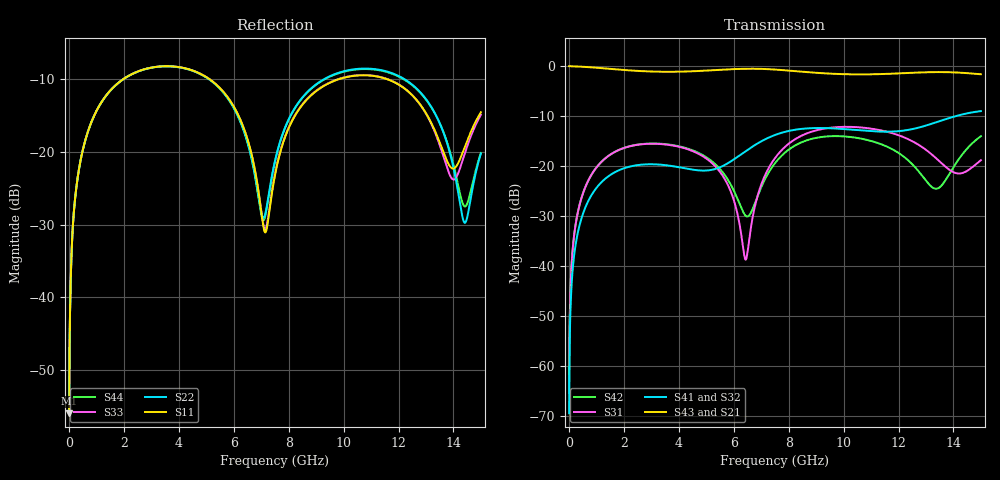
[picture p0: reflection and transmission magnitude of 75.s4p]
! Created with skrf 1.8.0 (http://scikit-rf.org).
# GHz S RI R 50.0
!freq ReS11 ImS11 ReS12 ImS12 ReS13 ImS13
! ReS14 ImS14
! ReS21 ImS21 ReS22 ImS22 ReS23 ImS23
! ReS24 ImS24
! ReS31 ImS31 ReS32 ImS32 ReS33 ImS33
! ReS34 ImS34
! ReS41 ImS41 ReS42 ImS42 ReS43 ImS43
! ReS44 ImS44
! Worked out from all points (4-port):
!   2499 points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, 5 MHz to 15 GHz, reference 50 ohm
!   strongest paths, dB at 5 MHz, 3.476 GHz, 7.19 GHz, 11.1 GHz, 15 GHz:
!     S43: 0.0, -1.1, -0.6, -1.6, -1.6
!     S21: 0.0, -1.1, -0.6, -1.6, -1.6
!     S41: -69.5, -19.8, -14.5, -13.0, -9.0
!     S32: -69.5, -19.8, -14.5, -13.2, -9.0
!     S31: -65.3, -15.7, -21.3, -12.6, -18.8
!     S42: -65.3, -15.6, -22.1, -15.1, -14.0
!   lowest |S11| = -56.0 dB at 5 MHz (marker M1), VSWR 1.00, Z = 50.1 + j0.0957 ohm
!   |S11| at or under -10 dB: start of sweep to 1.969 GHz; 5.126 GHz to 9.814 GHz (4.687 GHz wide, 62.8 % of centre); 11.6 GHz to end of sweep
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0.005  0.00126 0.000954  0.9987 -0.00246  6.37e-05 0.000539  -6.17e-05 -0.000331
       0.9987 -0.00246  0.00126 0.000954  -6.17e-05 -0.000331  6.37e-05 0.000539
       6.37e-05 0.000539  -6.17e-05 -0.000331  0.00126 0.000954  0.9987 -0.00246
       -6.17e-05 -0.000331  6.37e-05 0.000539  0.9987 -0.00246  0.00126 0.000954
0.4126719  0.0236 0.0822  0.9673 -0.2011  0.0119 0.0421  -0.00981 -0.0255
           0.9673 -0.2011  0.0236 0.0822  -0.0098 -0.0255  0.012 0.0421
           0.0119 0.0421  -0.0098 -0.0255  0.0236 0.0822  0.9673 -0.2011
           -0.00981 -0.0255  0.012 0.0421  0.9673 -0.2011  0.0236 0.0822
1.925802  0.2539 0.1815  0.5806 -0.711  0.1305 0.072  -0.0927 -0.0112
          0.5806 -0.711  0.2534 0.1818  -0.0926 -0.0114  0.1318 0.0704
          0.1305 0.072  -0.0926 -0.0114  0.2539 0.1815  0.5806 -0.711
          -0.0927 -0.0112  0.1318 0.0704  0.5806 -0.711  0.2534 0.1818
6.427678  0.0629 -0.1194  -0.8689 -0.3603  0.0116 0.000778  -0.0483 0.1322
          -0.8689 -0.3603  0.0664 -0.1111  -0.0503 0.1314  -0.0281 -0.0152
          0.0116 0.000778  -0.0503 0.1314  0.0635 -0.1187  -0.869 -0.3604
          -0.0483 0.1322  -0.0281 -0.0152  -0.869 -0.3604  0.0656 -0.1109
7.090454  0.0273 -0.0119  -0.9336 -0.0732  0.0301 0.0691  -0.00845 0.182
          -0.9336 -0.0732  0.0351 -0.000507  -0.011 0.1818  -0.025 0.0649
          0.0301 0.0691  -0.011 0.1818  0.0286 -0.0112  -0.9336 -0.0734
          -0.00845 0.182  -0.025 0.0649  -0.9336 -0.0734  0.0339 -0.000265
11.21717  0.3282 -0.0409  0.051 0.8282  0.1653 -0.1625  0.2028 -0.0901
          0.051 0.8282  0.3597 -0.0872  0.202 -0.083  0.1694 -0.0249
          0.1653 -0.1625  0.202 -0.083  0.3283 -0.0486  0.0502 0.8287
          0.2028 -0.0901  0.1694 -0.0249  0.0502 0.8287  0.3584 -0.0798
15  0.1419 0.1227  0.8158 -0.141  0.00686 0.1142  -0.0935 -0.3422
    0.8158 -0.141  0.0659 0.0719  -0.0807 -0.3464  0.1636 0.1133
    0.00686 0.1142  -0.0807 -0.3464  0.1305 0.1242  0.8171 -0.1386
    -0.0935 -0.3422  0.1636 0.1133  0.8171 -0.1386  0.0727 0.0663
